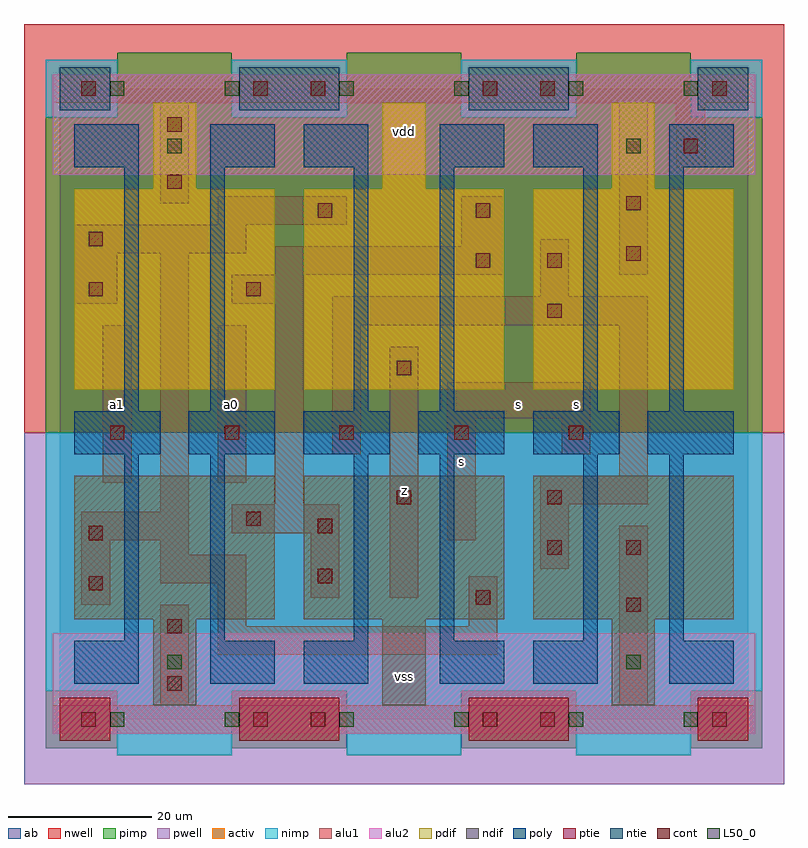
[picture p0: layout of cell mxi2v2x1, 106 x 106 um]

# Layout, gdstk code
import gdstk
lib = gdstk.Library(unit=1e-6, precision=1e-09)
def R(c, l, rs):  # rectangles x0, y0, x1, y1
    for r in rs: c.add(gdstk.rectangle(r[:2], r[2:], *l))
def A(c, l, x, y, w, h, nx, ny, dx, dy):  # array of equal rectangles
    R(c, l, [(x+i*dx, y+j*dy, x+i*dx+w, y+j*dy+h) for i in range(nx) for j in range(ny)])
ndif = (3, 0)
pdif = (4, 0)
ntie = (5, 0)
ptie = (6, 0)
cont = (25, 0)
pwell = (41, 0)
nwell = (42, 0)
activ = (43, 0)
pimp = (44, 0)
nimp = (45, 0)
poly = (46, 0)
alu1 = (49, 0)
L50_0 = (50, 0)
alu2 = (51, 0)
ab = (63, 0)

mxi2v2x1 = lib.new_cell('mxi2v2x1')
A(mxi2v2x1, ndif, 13, 2, 6, 12, 3, 1, 32, 0)
A(mxi2v2x1, ndif, 2, 14, 28, 20, 3, 1, 32, 0)
A(mxi2v2x1, pdif, 2, 46, 28, 28, 3, 1, 32, 0)
A(mxi2v2x1, pdif, 13, 74, 6, 12, 3, 1, 32, 0)
R(mxi2v2x1, ntie, [(0,85,7,91), (25,85,39,91), (57,85,71,91), (89,85,96,91)])
R(mxi2v2x1, ptie, [(0,-3,7,3), (25,-3,39,3), (57,-3,71,3), (89,-3,96,3)])
A(mxi2v2x1, cont, 7, 39, 2, 2, 5, 1, 16, 0)
R(mxi2v2x1, cont, [(3,-1,5,1), (27,-1,29,1), (35,-1,37,1), (59,-1,61,1), (67,-1,69,1), (91,-1,93,1), (15,4,17,6), (15,12,17,14), (79,15,81,17), (58,16,60,18), (4,18,6,20), (36,19,38,21), (68,23,70,25), (79,23,81,25), (4,25,6,27), (36,26,38,28), (26,27,28,29), (47,30,49,32), (68,30,70,32), (47,48,49,50), (68,56,70,58), (4,59,6,61), (26,59,28,61), (58,63,60,65), (68,63,70,65), (79,64,81,66), (4,66,6,68), (36,70,38,72), (58,70,60,72), (79,71,81,73), (15,74,17,76), (87,79,89,81), (15,82,17,84), (3,87,5,89), (27,87,29,89), (35,87,37,89), (59,87,61,89), (67,87,69,89), (91,87,93,89)])
R(mxi2v2x1, pwell, [(-5,-9,101,40)])
R(mxi2v2x1, nwell, [(-5,40,101,97)])
A(mxi2v2x1, activ, 13, 2, 6, 12, 3, 2, 32, 72)
A(mxi2v2x1, activ, 2, 14, 28, 20, 3, 1, 32, 0)
A(mxi2v2x1, activ, 2, 46, 28, 28, 3, 1, 32, 0)
R(mxi2v2x1, activ, [(0,-3,7,3), (25,-3,39,3), (57,-3,71,3), (89,-3,96,3), (0,85,7,91), (25,85,39,91), (57,85,71,91), (89,85,96,91)])
A(mxi2v2x1, pimp, 8, 84, 16, 9, 3, 1, 32, 0)
R(mxi2v2x1, pimp, [(-2,-4,8,4), (24,-4,40,4), (56,-4,72,4), (88,-4,98,4), (-2,40,98,84)])
A(mxi2v2x1, nimp, 8, -5, 16, 9, 3, 1, 32, 0)
R(mxi2v2x1, nimp, [(-2,4,98,40), (-2,84,8,92), (24,84,40,92), (56,84,72,92), (88,84,98,92)])
A(mxi2v2x1, poly, 2, 37, 12, 6, 6, 1, 16, 0)
R(mxi2v2x1, poly, [(2,5,11,11), (21,5,30,11), (34,5,43,11), (53,5,62,11), (66,5,75,11), (85,5,94,11), (9,11,11,37), (21,11,23,37), (41,11,43,37), (53,11,55,37), (73,11,75,37), (85,11,87,37), (9,43,11,77), (21,43,23,77), (41,43,43,77), (53,43,55,77), (73,43,75,77), (85,43,87,77), (2,77,11,83), (21,77,30,83), (34,77,43,83), (53,77,62,83), (66,77,75,83), (85,77,94,83)])
R(mxi2v2x1, alu1, [(-1,-2,97,2), (14,2,18,16), (78,2,82,27), (22,9,61,13), (22,13,26,19), (57,13,61,20), (3,16,7,25), (35,17,39,26), (46,17,50,52), (14,19,26,23), (67,21,71,30), (14,23,18,25), (3,25,18,29), (54,25,58,42), (24,26,39,30), (14,29,18,65), (30,30,34,58), (67,30,82,34), (6,33,10,55), (22,33,26,55), (78,34,82,55), (38,37,42,55), (70,37,74,42), (54,42,74,47), (38,55,82,59), (2,58,8,65), (24,58,34,62), (67,59,71,67), (30,62,62,66), (78,62,82,86), (2,65,26,69), (56,66,62,73), (22,69,40,73), (14,72,18,86), (86,77,90,86), (-1,86,97,90)])
A(mxi2v2x1, L50_0, 7, -1, 2, 2, 6, 2, 16, 88)
R(mxi2v2x1, L50_0, [(15,7,17,9), (79,7,81,9), (15,79,17,81), (79,79,81,81)])
R(mxi2v2x1, alu2, [(-1,-2,97,12), (-1,76,97,90)])
R(mxi2v2x1, ab, [(0,0,96,88)])
mxi2v2x1.add(gdstk.Label('a1', (8,44), layer=49, texttype=0))
mxi2v2x1.add(gdstk.Label('a0', (24,44), layer=49, texttype=0))
mxi2v2x1.add(gdstk.Label('z', (48,32), layer=49, texttype=0))
mxi2v2x1.add(gdstk.Label('s', (56,36), layer=49, texttype=0))
mxi2v2x1.add(gdstk.Label('s', (64,44), layer=49, texttype=0))
mxi2v2x1.add(gdstk.Label('s', (72,44), layer=49, texttype=0))
mxi2v2x1.add(gdstk.Label('vss', (48,6), layer=51, texttype=0))
mxi2v2x1.add(gdstk.Label('vdd', (48,82), layer=51, texttype=0))

lib.write_gds('mxi2v2x1.gds')
